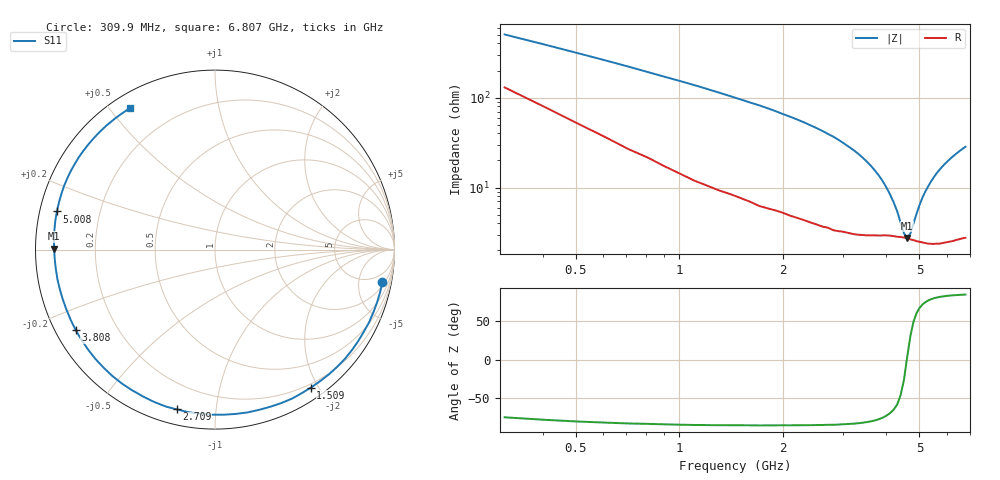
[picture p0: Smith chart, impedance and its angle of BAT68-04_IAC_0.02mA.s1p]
! Infineon Technologies  Discrete & RF Semiconductors
! BAT68-04
! IAC = 0.02 mA
! One-Port S-Parameters
# Hz  S  MA  R  50
!f  S11
!Hz  Mag  Ang
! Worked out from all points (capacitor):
!   66 points, 309.9 MHz to 6.807 GHz, reference 50 ohm
!   read as one part to ground: C = 1.02 pF near 309.9 MHz
!   lowest |Z| = 2.74 ohm at 4.608 GHz (marker M1)
!   series resonance near 4.597 GHz, so ESL is about 1.2 nH
!   S11 on the Smith chart (normalised r, x): 309.9 MHz: 3, -10; 1.509 GHz: 0.15, -1.90; 2.709 GHz: 0.07, -0.79; 3.808 GHz: 0.06, -0.27; 5.008 GHz: 0.05, +0.12; 6.807 GHz: 0.06, +0.56
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3.0985e8  0.9505 -11.0
5.0975e8  0.9497 -18.1
7.0965e8  0.9492 -25.3
1.0095e9  0.9463 -36.3
1.2094e9  0.9433 -43.8
1.50925e9  0.9361 -55.3
1.70915e9  0.9345 -62.7
2.009e9  0.9258 -74.7
2.2089e9  0.9229 -82.6
2.4088e9  0.9201 -90.9
2.6087e9  0.918 -99.1
2.70865e9  0.9154 -103.5
2.8086e9  0.9163 -107.4
3.0085e9  0.9111 -116.3
3.2084e9  0.9088 -124.8
3.4083e9  0.9044 -133.3
3.6082e9  0.9002 -141.8
3.8081e9  0.8962 -150.1
4.10795e9  0.8922 -162.1
4.4078e9  0.8934 -173.2
4.6077e9  0.8961 179.6
4.8076e9  0.9013 173.0
5.0075e9  0.9062 166.4
5.2074e9  0.9104 160.0
5.6072e9  0.9155 148.4
6.007e9  0.9173 138.2
6.30685e9  0.9183 131.3
6.8066e9  0.9196 121.0
